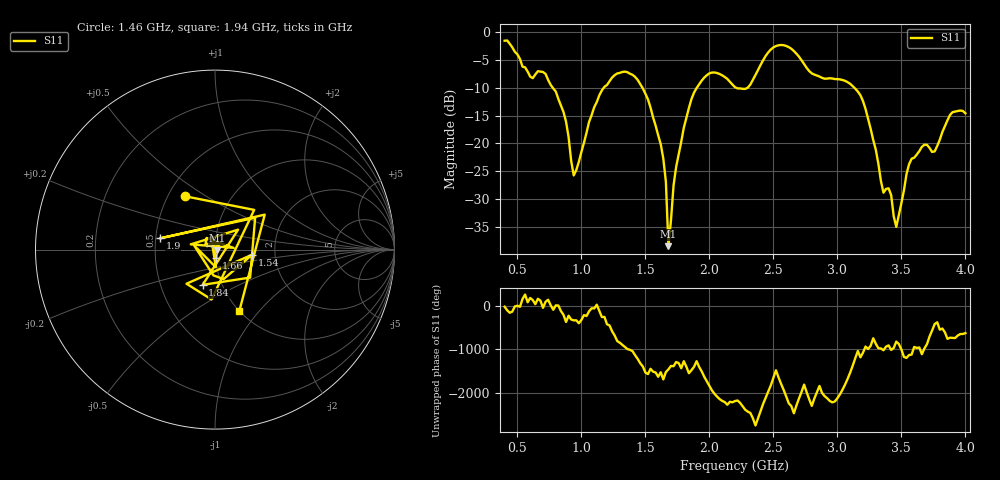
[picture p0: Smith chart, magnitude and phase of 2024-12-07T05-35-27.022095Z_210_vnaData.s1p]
!Created with skrf (http://scikit-rf.org).
# Hz S RI R 50.0
!freq ReS11 ImS11
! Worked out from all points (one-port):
!   181 points, 400 MHz to 4 GHz, reference 50 ohm
!   lowest |S11| = -38.4 dB at 1.68 GHz (marker M1), VSWR 1.02, Z = 51.1 - j0.426 ohm
!   |S11| at or under -10 dB: 775.6 MHz to 1.175 GHz (399.8 MHz wide, 41 % of centre); 1.476 GHz to 1.902 GHz (426.2 MHz wide, 25.2 % of centre); 3.131 GHz to end of sweep (the widest 3 of 4)
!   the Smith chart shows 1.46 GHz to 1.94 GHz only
!   S11 on the Smith chart (normalised r, x): 1.46 GHz: 0.61, +0.41; 1.54 GHz: 1.52, -0.09; 1.66 GHz: 1.01, -0.09; 1.84 GHz: 0.81, -0.33; 1.9 GHz: 0.53, +0.07; 1.94 GHz: 1.01, -0.79
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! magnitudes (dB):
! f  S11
! 400 MHz  -1.6
! 600 MHz  -8.0
! 720 MHz  -7.5
! 860 MHz  -14.4
! 940 MHz  -25.7
! 1.14 GHz  -11.4
! 1.3 GHz  -7.4
! 1.46 GHz  -9.4
! 1.54 GHz  -13.6
! 1.62 GHz  -20.2
! 1.66 GHz  -26.9
! 1.68 GHz  -38.4
! 1.72 GHz  -27.5
! 1.76 GHz  -21.9
! 1.84 GHz  -13.6
! 1.9 GHz  -10.1
! 1.94 GHz  -8.7
! 2.2 GHz  -9.9
! 2.3 GHz  -10.0
! 2.5 GHz  -2.8
! 2.66 GHz  -3.4
! 3.1 GHz  -9.3
! 3.22 GHz  -13.8
! 3.36 GHz  -28.8
! 3.42 GHz  -29.3
! 3.46 GHz  -34.9
! 3.56 GHz  -23.7
! 4 GHz  -14.6
